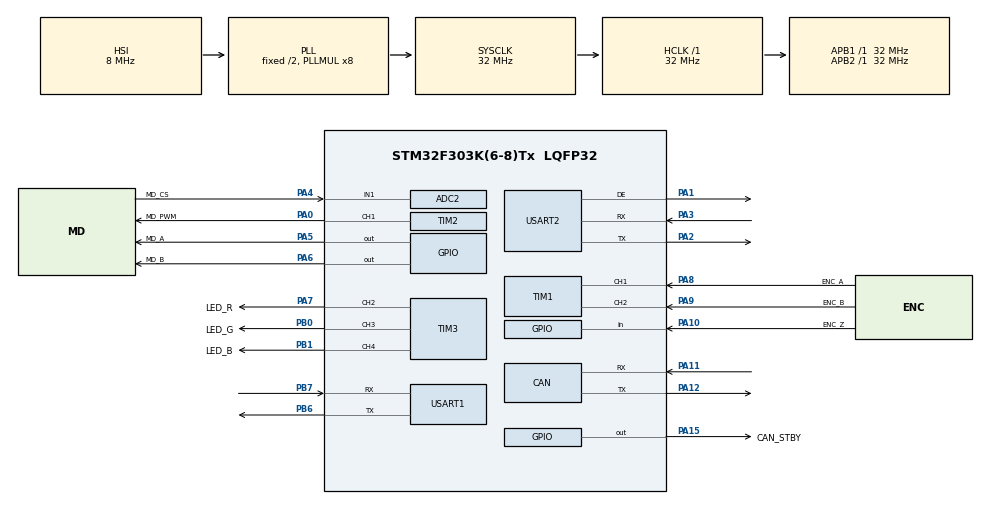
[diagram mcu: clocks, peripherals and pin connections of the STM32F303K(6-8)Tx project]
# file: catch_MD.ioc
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ADC2.Channel-0\#ChannelRegularConversion=ADC_CHANNEL_1
ADC2.NbrOfConversionFlag=1
ADC2.Offset-0\#ChannelRegularConversion=0
ADC2.OffsetNumber-0\#ChannelRegularConversion=ADC_OFFSET_NONE
ADC2.Rank-0\#ChannelRegularConversion=1
ADC2.SamplingTime-0\#ChannelRegularConversion=ADC_SAMPLETIME_1CYCLE_5
ADC2.SubFamily=STM32F303x8
CAN.CalculateTimeQuantum=500.0
Mcu.Family=STM32F3
Mcu.Name=STM32F303K(6-8)Tx
Mcu.Package=LQFP32
NVIC.PriorityGroup=NVIC_PRIORITYGROUP_4
PA0.GPIO_Label=MD_PWM
PA0.Signal=S_TIM2_CH1_ETR
PA1.Mode=Hardware Flow Control (RS485)
PA1.Signal=USART2_DE
PA10.GPIO_Label=ENC_Z
PA10.Signal=GPIO_Input
PA11.Mode=Master
PA11.Signal=CAN_RX
PA12.Mode=Master
PA12.Signal=CAN_TX
PA13.Mode=Serial_Wire
PA13.Signal=SYS_JTMS-SWDIO
PA14.Mode=Serial_Wire
PA14.Signal=SYS_JTCK-SWCLK
PA15.GPIO_Label=CAN_STBY
PA15.Signal=GPIO_Output
PA2.Mode=Asynchronous
PA2.Signal=USART2_TX
PA3.Mode=Asynchronous
PA3.Signal=USART2_RX
PA4.GPIO_Label=MD_CS
PA4.Mode=IN1-Single-Ended
PA4.Signal=ADC2_IN1
PA5.GPIO_Label=MD_A
PA5.Signal=GPIO_Output
PA6.GPIO_Label=MD_B
PA6.Signal=GPIO_Output
PA7.GPIO_Label=LED_R
PA7.Signal=S_TIM3_CH2
PA8.GPIO_Label=ENC_A
PA8.Signal=S_TIM1_CH1
PA9.GPIO_Label=ENC_B
PA9.Signal=S_TIM1_CH2
PB0.GPIO_Label=LED_G
PB0.Signal=S_TIM3_CH3
PB1.GPIO_Label=LED_B
PB1.Signal=S_TIM3_CH4
PB6.Mode=Asynchronous
PB6.Signal=USART1_TX
PB7.Mode=Asynchronous
PB7.Signal=USART1_RX
ProjectManager.HeapSize=0x200
ProjectManager.StackSize=0x400
ProjectManager.TargetToolchain=SW4STM32
RCC.AHBFreq_Value=32000000
RCC.APB1Freq_Value=32000000
RCC.APB1TimFreq_Value=32000000
RCC.APB2Freq_Value=32000000
RCC.APB2TimFreq_Value=32000000
RCC.CortexFreq_Value=32000000
RCC.HCLKFreq_Value=32000000
RCC.HSE_VALUE=8000000
RCC.HSI_VALUE=8000000
RCC.PLLMUL=RCC_PLL_MUL8
RCC.SYSCLKFreq_VALUE=32000000
RCC.SYSCLKSourceVirtual=RCC_SYSCLKSOURCE_PLLCLK
SH.S_TIM1_CH1.0=TIM1_CH1,Encoder_Interface
SH.S_TIM1_CH2.0=TIM1_CH2,Encoder_Interface
SH.S_TIM2_CH1_ETR.0=TIM2_CH1,PWM Generation1 CH1
SH.S_TIM3_CH2.0=TIM3_CH2,PWM Generation2 CH2
SH.S_TIM3_CH3.0=TIM3_CH3,PWM Generation3 CH3
SH.S_TIM3_CH4.0=TIM3_CH4,PWM Generation4 CH4
TIM2.Channel-PWM\ Generation1\ CH1=TIM_CHANNEL_1
TIM3.Channel-PWM\ Generation2\ CH2=TIM_CHANNEL_2
TIM3.Channel-PWM\ Generation3\ CH3=TIM_CHANNEL_3
TIM3.Channel-PWM\ Generation4\ CH4=TIM_CHANNEL_4
USART1.VirtualMode-Asynchronous=VM_ASYNC
USART2.VirtualMode-Asynchronous=VM_ASYNC
USART2.VirtualMode-Hardware\ Flow\ Control\ (RS485)=VM_ASYNC
VP_TIM17_VS_ClockSourceINT.Mode=Enable_Timer
board=custom

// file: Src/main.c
/* USER CODE BEGIN Header */
/**
  ******************************************************************************
  * @file           : main.c
  * @brief          : Main program body
  ******************************************************************************
  * @attention
  *
  * <h2><center>&copy; Copyright (c) 2019 STMicroelectronics.
  * All rights reserved.</center></h2>
  *
  * This software component is licensed by ST under BSD 3-Clause license,
  * the "License"; You may not use this file except in compliance with the
  * License. You may obtain a copy of the License at:
  *                        opensource.org/licenses/BSD-3-Clause
  *
  ******************************************************************************
  */
/* USER CODE END Header */

#include "main.h"

/* USER CODE BEGIN Includes */
#include "struct.h"
#include "motor.h"
#include "encoder.h"
#include "robotstate.h"

/* USER CODE END Includes */

ADC_HandleTypeDef hadc2;

CAN_HandleTypeDef hcan;

TIM_HandleTypeDef htim1;
TIM_HandleTypeDef htim2;
TIM_HandleTypeDef htim3;
TIM_HandleTypeDef htim17;

UART_HandleTypeDef huart1;
UART_HandleTypeDef huart2;

/* USER CODE BEGIN PV */
static char s[255] = {'\0'};
//CAN data storage
uint8_t tx[8]; //data which send to "main"
uint8_t rx[8]; //data which receive from "main"
/* USER CODE END PV */

void SystemClock_Config(void);
static void MX_GPIO_Init(void);
static void MX_ADC2_Init(void);
static void MX_CAN_Init(void);
static void MX_TIM1_Init(void);
static void MX_TIM2_Init(void);
static void MX_TIM3_Init(void);
static void MX_TIM17_Init(void);
static void MX_USART1_UART_Init(void);
static void MX_USART2_UART_Init(void);

int main(void)
{

  /* MCU Configuration--------------------------------------------------------*/

  /* Reset of all peripherals, Initializes the Flash interface and the Systick. */
  HAL_Init();

  /* Configure the system clock */
  SystemClock_Config();

  /* Initialize all configured peripherals */
  MX_GPIO_Init();
  MX_ADC2_Init();
  MX_CAN_Init();
  MX_TIM1_Init();
  MX_TIM2_Init();
  MX_TIM3_Init();
  MX_TIM17_Init();
  MX_USART1_UART_Init();
  MX_USART2_UART_Init();

  /* Infinite loop */
  /* USER CODE BEGIN WHILE */
  while (1)
  {
	  static int16_t enc1_buf = 0;
	  //receive data(instruction) from "main"
	  if (HAL_CAN_GetRxFifoFillLevel(&hcan,CAN_RX_FIFO0) != 0U)
	  {
	    if (HAL_CAN_GetRxMessage(&hcan, CAN_RX_FIFO0, &pHeader2, rx) != HAL_OK)
	    {
	  	  Error_Handler();
	    }
	  }
//	  rx[0],rx[1]... use for encoder
	  //get measurement data
	  EncGetData(&enc1_buf);
//	  enc1_buf = -10;
	  sprintf(s, "Enc1: %d \r\n", (int)enc1_buf);
	  HAL_UART_Transmit(&huart2,(uint8_t *)s, strlen(s), 100);
	  //send data to "main"
	  tx[0] = (int)enc1_buf;
	  if (HAL_CAN_AddTxMessage(&hcan, &pHeader1, tx, (uint32_t *)CAN_TX_MAILBOX0) != HAL_OK)
	  {
	    Error_Handler();
	  }
	  HAL_Delay(500);
    /* USER CODE END WHILE */

  }
}

void SystemClock_Config(void)
{
  RCC_OscInitTypeDef RCC_OscInitStruct = {0};
  RCC_ClkInitTypeDef RCC_ClkInitStruct = {0};
  RCC_PeriphCLKInitTypeDef PeriphClkInit = {0};

  /** Initializes the CPU, AHB and APB busses clocks
  */
  RCC_OscInitStruct.OscillatorType = RCC_OSCILLATORTYPE_HSI;
  RCC_OscInitStruct.HSIState = RCC_HSI_ON;
  RCC_OscInitStruct.HSICalibrationValue = RCC_HSICALIBRATION_DEFAULT;
  RCC_OscInitStruct.PLL.PLLState = RCC_PLL_ON;
  RCC_OscInitStruct.PLL.PLLSource = RCC_PLLSOURCE_HSI;
  RCC_OscInitStruct.PLL.PLLMUL = RCC_PLL_MUL8;
  if (HAL_RCC_OscConfig(&RCC_OscInitStruct) != HAL_OK)
  {
    Error_Handler();
  }
  /** Initializes the CPU, AHB and APB busses clocks
  */
  RCC_ClkInitStruct.ClockType = RCC_CLOCKTYPE_HCLK|RCC_CLOCKTYPE_SYSCLK
                              |RCC_CLOCKTYPE_PCLK1|RCC_CLOCKTYPE_PCLK2;
  RCC_ClkInitStruct.SYSCLKSource = RCC_SYSCLKSOURCE_PLLCLK;
  RCC_ClkInitStruct.AHBCLKDivider = RCC_SYSCLK_DIV1;
  RCC_ClkInitStruct.APB1CLKDivider = RCC_HCLK_DIV1;
  RCC_ClkInitStruct.APB2CLKDivider = RCC_HCLK_DIV1;

  if (HAL_RCC_ClockConfig(&RCC_ClkInitStruct, FLASH_LATENCY_1) != HAL_OK)
  {
    Error_Handler();
  }
  PeriphClkInit.PeriphClockSelection = RCC_PERIPHCLK_USART1|RCC_PERIPHCLK_TIM1
                              |RCC_PERIPHCLK_ADC12;
  PeriphClkInit.Usart1ClockSelection = RCC_USART1CLKSOURCE_PCLK1;
  PeriphClkInit.Adc12ClockSelection = RCC_ADC12PLLCLK_DIV1;
  PeriphClkInit.Tim1ClockSelection = RCC_TIM1CLK_HCLK;
  if (HAL_RCCEx_PeriphCLKConfig(&PeriphClkInit) != HAL_OK)
  {
    Error_Handler();
  }
}

static void MX_ADC2_Init(void)
{

  ADC_ChannelConfTypeDef sConfig = {0};

  /** Common config
  */
  hadc2.Instance = ADC2;
  hadc2.Init.ClockPrescaler = ADC_CLOCK_ASYNC_DIV1;
  hadc2.Init.Resolution = ADC_RESOLUTION_12B;
  hadc2.Init.ScanConvMode = ADC_SCAN_DISABLE;
  hadc2.Init.ContinuousConvMode = DISABLE;
  hadc2.Init.DiscontinuousConvMode = DISABLE;
  hadc2.Init.ExternalTrigConvEdge = ADC_EXTERNALTRIGCONVEDGE_NONE;
  hadc2.Init.ExternalTrigConv = ADC_SOFTWARE_START;
  hadc2.Init.DataAlign = ADC_DATAALIGN_RIGHT;
  hadc2.Init.NbrOfConversion = 1;
  hadc2.Init.DMAContinuousRequests = DISABLE;
  hadc2.Init.EOCSelection = ADC_EOC_SINGLE_CONV;
  hadc2.Init.LowPowerAutoWait = DISABLE;
  hadc2.Init.Overrun = ADC_OVR_DATA_OVERWRITTEN;
  if (HAL_ADC_Init(&hadc2) != HAL_OK)
  {
    Error_Handler();
  }
  /** Configure Regular Channel
  */
  sConfig.Channel = ADC_CHANNEL_1;
  sConfig.Rank = ADC_REGULAR_RANK_1;
  sConfig.SingleDiff = ADC_SINGLE_ENDED;
  sConfig.SamplingTime = ADC_SAMPLETIME_1CYCLE_5;
  sConfig.OffsetNumber = ADC_OFFSET_NONE;
  sConfig.Offset = 0;
  if (HAL_ADC_ConfigChannel(&hadc2, &sConfig) != HAL_OK)
  {
    Error_Handler();
  }

}

static void MX_CAN_Init(void)
{

  hcan.Instance = CAN;
  hcan.Init.Prescaler = 16;
  hcan.Init.Mode = CAN_MODE_NORMAL;
  hcan.Init.SyncJumpWidth = CAN_SJW_1TQ;
  hcan.Init.TimeSeg1 = CAN_BS1_1TQ;
  hcan.Init.TimeSeg2 = CAN_BS2_1TQ;
  hcan.Init.TimeTriggeredMode = DISABLE;
  hcan.Init.AutoBusOff = DISABLE;
  hcan.Init.AutoWakeUp = DISABLE;
  hcan.Init.AutoRetransmission = DISABLE;
  hcan.Init.ReceiveFifoLocked = DISABLE;
  hcan.Init.TransmitFifoPriority = DISABLE;
  if (HAL_CAN_Init(&hcan) != HAL_OK)
  {
    Error_Handler();
  }
  /* USER CODE BEGIN CAN_Init 2 */
  sFilterConfig1.FilterIdHigh = 0x0020;//32(this_slave_stdId=1)**(all_slave_stdId is 1~8)
  sFilterConfig1.FilterIdLow = 0x0000;
  sFilterConfig1.FilterMaskIdHigh = 0xFFE0;//"stdId=1" only accept
  sFilterConfig1.FilterMaskIdLow = 0x0004; //CAN_ID_STD accept
  sFilterConfig1.FilterMode = CAN_FILTERMODE_IDMASK;
  sFilterConfig1.FilterScale = CAN_FILTERSCALE_32BIT;
  sFilterConfig1.FilterFIFOAssignment = 0;
  sFilterConfig1.FilterActivation = ENABLE;
  if (HAL_CAN_ConfigFilter(&hcan, &sFilterConfig1) != HAL_OK)
    {
      /* Filter configuration Error */
      Error_Handler();
    }
  pHeader1.IDE = CAN_ID_STD;//NOT extend
  pHeader1.RTR = CAN_RTR_DATA;
  pHeader1.StdId = 0x10;//main stdId is 16 **(all main is 16~23)
  pHeader1.ExtId = 0x10;
  pHeader1.DLC = 1;//number of tx data
  /* USER CODE END CAN_Init 2 */

}

static void MX_TIM1_Init(void)
{

  TIM_Encoder_InitTypeDef sConfig = {0};
  TIM_MasterConfigTypeDef sMasterConfig = {0};

  htim1.Instance = TIM1;
  htim1.Init.Prescaler = 0;
  htim1.Init.CounterMode = TIM_COUNTERMODE_UP;
  htim1.Init.Period = 0;
  htim1.Init.ClockDivision = TIM_CLOCKDIVISION_DIV1;
  htim1.Init.RepetitionCounter = 0;
  htim1.Init.AutoReloadPreload = TIM_AUTORELOAD_PRELOAD_DISABLE;
  sConfig.EncoderMode = TIM_ENCODERMODE_TI1;
  sConfig.IC1Polarity = TIM_ICPOLARITY_RISING;
  sConfig.IC1Selection = TIM_ICSELECTION_DIRECTTI;
  sConfig.IC1Prescaler = TIM_ICPSC_DIV1;
  sConfig.IC1Filter = 0;
  sConfig.IC2Polarity = TIM_ICPOLARITY_RISING;
  sConfig.IC2Selection = TIM_ICSELECTION_DIRECTTI;
  sConfig.IC2Prescaler = TIM_ICPSC_DIV1;
  sConfig.IC2Filter = 0;
  if (HAL_TIM_Encoder_Init(&htim1, &sConfig) != HAL_OK)
  {
    Error_Handler();
  }
  sMasterConfig.MasterOutputTrigger = TIM_TRGO_RESET;
  sMasterConfig.MasterOutputTrigger2 = TIM_TRGO2_RESET;
  sMasterConfig.MasterSlaveMode = TIM_MASTERSLAVEMODE_DISABLE;
  if (HAL_TIMEx_MasterConfigSynchronization(&htim1, &sMasterConfig) != HAL_OK)
  {
    Error_Handler();
  }

}

static void MX_TIM2_Init(void)
{

  TIM_MasterConfigTypeDef sMasterConfig = {0};
  TIM_OC_InitTypeDef sConfigOC = {0};

  htim2.Instance = TIM2;
  htim2.Init.Prescaler = 0;
  htim2.Init.CounterMode = TIM_COUNTERMODE_UP;
  htim2.Init.Period = 0;
  htim2.Init.ClockDivision = TIM_CLOCKDIVISION_DIV1;
  htim2.Init.AutoReloadPreload = TIM_AUTORELOAD_PRELOAD_DISABLE;
  if (HAL_TIM_PWM_Init(&htim2) != HAL_OK)
  {
    Error_Handler();
  }
  sMasterConfig.MasterOutputTrigger = TIM_TRGO_RESET;
  sMasterConfig.MasterSlaveMode = TIM_MASTERSLAVEMODE_DISABLE;
  if (HAL_TIMEx_MasterConfigSynchronization(&htim2, &sMasterConfig) != HAL_OK)
  {
    Error_Handler();
  }
  sConfigOC.OCMode = TIM_OCMODE_PWM1;
  sConfigOC.Pulse = 0;
  sConfigOC.OCPolarity = TIM_OCPOLARITY_HIGH;
  sConfigOC.OCFastMode = TIM_OCFAST_DISABLE;
  if (HAL_TIM_PWM_ConfigChannel(&htim2, &sConfigOC, TIM_CHANNEL_1) != HAL_OK)
  {
    Error_Handler();
  }
  HAL_TIM_MspPostInit(&htim2);

}

static void MX_TIM3_Init(void)
{

  TIM_MasterConfigTypeDef sMasterConfig = {0};
  TIM_OC_InitTypeDef sConfigOC = {0};

  htim3.Instance = TIM3;
  htim3.Init.Prescaler = 0;
  htim3.Init.CounterMode = TIM_COUNTERMODE_UP;
  htim3.Init.Period = 0;
  htim3.Init.ClockDivision = TIM_CLOCKDIVISION_DIV1;
  htim3.Init.AutoReloadPreload = TIM_AUTORELOAD_PRELOAD_DISABLE;
  if (HAL_TIM_PWM_Init(&htim3) != HAL_OK)
  {
    Error_Handler();
  }
  sMasterConfig.MasterOutputTrigger = TIM_TRGO_RESET;
  sMasterConfig.MasterSlaveMode = TIM_MASTERSLAVEMODE_DISABLE;
  if (HAL_TIMEx_MasterConfigSynchronization(&htim3, &sMasterConfig) != HAL_OK)
  {
    Error_Handler();
  }
  sConfigOC.OCMode = TIM_OCMODE_PWM1;
  sConfigOC.Pulse = 0;
  sConfigOC.OCPolarity = TIM_OCPOLARITY_HIGH;
  sConfigOC.OCFastMode = TIM_OCFAST_DISABLE;
  if (HAL_TIM_PWM_ConfigChannel(&htim3, &sConfigOC, TIM_CHANNEL_2) != HAL_OK)
  {
    Error_Handler();
  }
  if (HAL_TIM_PWM_ConfigChannel(&htim3, &sConfigOC, TIM_CHANNEL_3) != HAL_OK)
  {
    Error_Handler();
  }
  if (HAL_TIM_PWM_ConfigChannel(&htim3, &sConfigOC, TIM_CHANNEL_4) != HAL_OK)
  {
    Error_Handler();
  }
  HAL_TIM_MspPostInit(&htim3);

}

static void MX_TIM17_Init(void)
{

  htim17.Instance = TIM17;
  htim17.Init.Prescaler = 0;
  htim17.Init.CounterMode = TIM_COUNTERMODE_UP;
  htim17.Init.Period = 0;
  htim17.Init.ClockDivision = TIM_CLOCKDIVISION_DIV1;
  htim17.Init.RepetitionCounter = 0;
  htim17.Init.AutoReloadPreload = TIM_AUTORELOAD_PRELOAD_DISABLE;
  if (HAL_TIM_Base_Init(&htim17) != HAL_OK)
  {
    Error_Handler();
  }

}

static void MX_USART1_UART_Init(void)
{

  huart1.Instance = USART1;
  huart1.Init.BaudRate = 38400;
  huart1.Init.WordLength = UART_WORDLENGTH_8B;
  huart1.Init.StopBits = UART_STOPBITS_1;
  huart1.Init.Parity = UART_PARITY_NONE;
  huart1.Init.Mode = UART_MODE_TX_RX;
  huart1.Init.HwFlowCtl = UART_HWCONTROL_NONE;
  huart1.Init.OverSampling = UART_OVERSAMPLING_16;
  huart1.Init.OneBitSampling = UART_ONE_BIT_SAMPLE_DISABLE;
  huart1.AdvancedInit.AdvFeatureInit = UART_ADVFEATURE_NO_INIT;
  if (HAL_UART_Init(&huart1) != HAL_OK)
  {
    Error_Handler();
  }

}

static void MX_USART2_UART_Init(void)
{

  huart2.Instance = USART2;
  huart2.Init.BaudRate = 38400;
  huart2.Init.WordLength = UART_WORDLENGTH_8B;
  huart2.Init.StopBits = UART_STOPBITS_1;
  huart2.Init.Parity = UART_PARITY_NONE;
  huart2.Init.Mode = UART_MODE_TX_RX;
  huart2.Init.HwFlowCtl = UART_HWCONTROL_NONE;
  huart2.Init.OverSampling = UART_OVERSAMPLING_16;
  huart2.Init.OneBitSampling = UART_ONE_BIT_SAMPLE_DISABLE;
  huart2.AdvancedInit.AdvFeatureInit = UART_ADVFEATURE_NO_INIT;
  if (HAL_RS485Ex_Init(&huart2, UART_DE_POLARITY_HIGH, 0, 0) != HAL_OK)
  {
    Error_Handler();
  }

}

static void MX_GPIO_Init(void)
{
  GPIO_InitTypeDef GPIO_InitStruct = {0};

  /* GPIO Ports Clock Enable */
  __HAL_RCC_GPIOA_CLK_ENABLE();
  __HAL_RCC_GPIOB_CLK_ENABLE();

  /*Configure GPIO pin Output Level */
  HAL_GPIO_WritePin(GPIOA, MD_A_Pin|MD_B_Pin|CAN_STBY_Pin, GPIO_PIN_RESET);

  /*Configure GPIO pins : MD_A_Pin MD_B_Pin CAN_STBY_Pin */
  GPIO_InitStruct.Pin = MD_A_Pin|MD_B_Pin|CAN_STBY_Pin;
  GPIO_InitStruct.Mode = GPIO_MODE_OUTPUT_PP;
  GPIO_InitStruct.Pull = GPIO_NOPULL;
  GPIO_InitStruct.Speed = GPIO_SPEED_FREQ_LOW;
  HAL_GPIO_Init(GPIOA, &GPIO_InitStruct);

  /*Configure GPIO pin : ENC_Z_Pin */
  GPIO_InitStruct.Pin = ENC_Z_Pin;
  GPIO_InitStruct.Mode = GPIO_MODE_INPUT;
  GPIO_InitStruct.Pull = GPIO_NOPULL;
  HAL_GPIO_Init(ENC_Z_GPIO_Port, &GPIO_InitStruct);

}

void Error_Handler(void)
{
}

/************************ (C) COPYRIGHT STMicroelectronics *****END OF FILE****/
